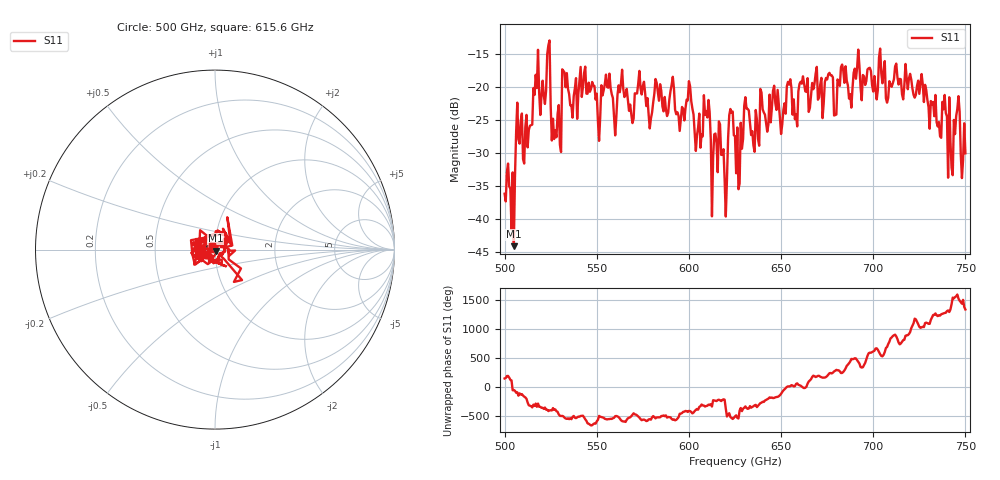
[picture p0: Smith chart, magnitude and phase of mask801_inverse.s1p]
!Created with skrf (http://scikit-rf.org).
# GHz S MA R 50.0
!freq magS11 angS11
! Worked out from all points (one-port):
!   401 points, 500 GHz to 750 GHz, reference 50 ohm
!   lowest |S11| = -44.1 dB at 505 GHz (marker M1), VSWR 1.01, Z = 50.3 - j0.526 ohm
!   |S11| at or under -10 dB: start of sweep to end of sweep
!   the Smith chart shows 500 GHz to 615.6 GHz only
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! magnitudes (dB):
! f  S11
! 500 GHz  -36.2
! 505 GHz  -44.1
! 507.5 GHz  -27.9
! 513.8 GHz  -25.8
! 516.9 GHz  -18.1
! 520.6 GHz  -19.0
! 523.8 GHz  -13.6
! 526.9 GHz  -27.8
! 531.2 GHz  -17.3
! 532.5 GHz  -17.7
! 550.6 GHz  -25.1
! 562.5 GHz  -20.7
! 568.8 GHz  -24.1
! 590.6 GHz  -19.6
! 593.8 GHz  -23.8
! 609.4 GHz  -23.6
! 619.4 GHz  -34.0
! 622.5 GHz  -23.3
! 625 GHz  -27.4
! 626.2 GHz  -26.1
! 631.2 GHz  -23.2
! 634.4 GHz  -26.6
! 656.2 GHz  -24.2
! 687.5 GHz  -21.0
! 691.2 GHz  -17.1
! 718.8 GHz  -20.3
! 745.6 GHz  -23.3
! 750 GHz  -30.0
